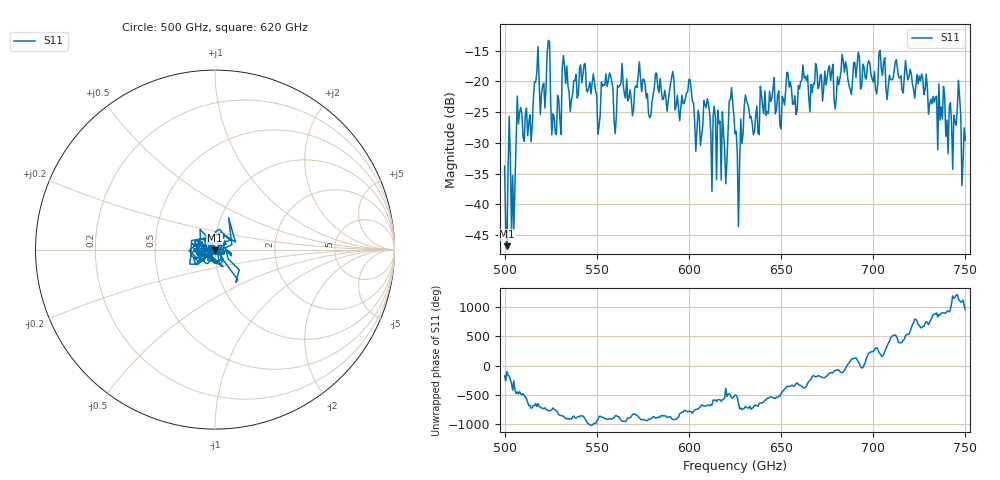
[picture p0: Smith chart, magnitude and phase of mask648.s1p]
!Created with skrf (http://scikit-rf.org).
# GHz S MA R 50.0
!freq magS11 angS11
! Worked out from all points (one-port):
!   401 points, 500 GHz to 750 GHz, reference 50 ohm
!   lowest |S11| = -46.8 dB at 501.2 GHz (marker M1), VSWR 1.01, Z = 49.9 - j0.446 ohm
!   |S11| at or under -10 dB: start of sweep to end of sweep
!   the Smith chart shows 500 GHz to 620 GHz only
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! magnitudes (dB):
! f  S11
! 500 GHz  -33.8
! 501.2 GHz  -46.8
! 504.4 GHz  -35.3
! 507.5 GHz  -26.9
! 513.8 GHz  -25.4
! 517.5 GHz  -18.4
! 520.6 GHz  -20.7
! 523.8 GHz  -13.3
! 526.9 GHz  -25.8
! 531.2 GHz  -17.9
! 542.5 GHz  -18.8
! 550.6 GHz  -28.6
! 562.5 GHz  -20.7
! 593.8 GHz  -22.2
! 600 GHz  -19.7
! 605 GHz  -24.7
! 609.4 GHz  -24.3
! 618.8 GHz  -28.4
! 623.1 GHz  -21.0
! 625 GHz  -28.5
! 627.5 GHz  -33.4
! 631.2 GHz  -23.1
! 656.2 GHz  -23.7
! 687.5 GHz  -21.3
! 718.8 GHz  -19.7
! 741.9 GHz  -23.4
! 746.2 GHz  -19.8
! 750 GHz  -29.5
